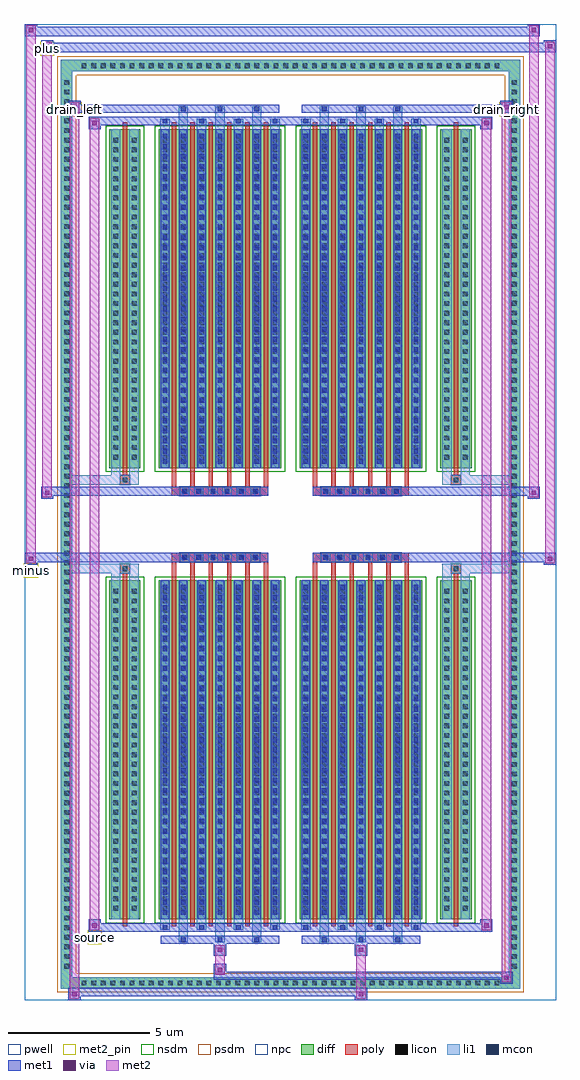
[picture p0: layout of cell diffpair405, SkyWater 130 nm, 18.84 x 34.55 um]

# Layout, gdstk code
import gdstk
lib = gdstk.Library(unit=1e-6, precision=5e-09)
def R(c, l, rs):  # rectangles x0, y0, x1, y1
    for r in rs: c.add(gdstk.rectangle(r[:2], r[2:], *l))
def A(c, l, x, y, w, h, nx, ny, dx, dy):  # array of equal rectangles
    R(c, l, [(x+i*dx, y+j*dy, x+i*dx+w, y+j*dy+h) for i in range(nx) for j in range(ny)])
def P(c, l, *ps):  # polygons
    for p in ps: c.add(gdstk.Polygon(p, *l))
pwell = (64, 44)
diff = (65, 20)
poly = (66, 20)
licon = (66, 44)
li1 = (67, 20)
mcon = (67, 44)
met1 = (68, 20)
via = (68, 44)
met2_pin = (69, 16)
met2 = (69, 20)
nsdm = (93, 44)
psdm = (94, 20)
npc = (95, 20)

diffpair405 = lib.new_cell('diffpair405')
R(diffpair405, pwell, [(-9.4,-16.84,9.4,17.71), (-6.72,-15.03,-0.01,-0.805), (0.01,-15.03,6.72,-0.805), (-6.72,0.805,-0.01,15.03), (0.01,0.805,6.72,15.03)])
A(diffpair405, diff, -7.515, -16.44, 0.41, 0.41, 44, 2, 0.34, 32.47)
A(diffpair405, diff, -8.13, -15.845, 0.41, 0.41, 1, 93, 0, 0.34)
A(diffpair405, diff, 7.72, -15.845, 0.41, 0.41, 1, 93, 0, 0.34)
R(diffpair405, diff, [(-7.515,-16.44,7.515,-16.03), (-8.13,-15.845,-7.72,15.845), (7.72,-15.845,8.13,15.845), (-6.41,-13.985,-5.31,-1.985), (-4.67,-13.985,-0.32,-1.985), (0.32,-13.985,4.67,-1.985), (5.31,-13.985,6.41,-1.985), (-6.41,1.985,-5.31,13.985), (-4.67,1.985,-0.32,13.985), (0.32,1.985,4.67,13.985), (5.31,1.985,6.41,13.985), (-7.515,16.03,7.515,16.44)])
P(diffpair405, diff, [(8.13,16.44),(-8.13,16.44),(-8.13,-16.03),(-7.72,-16.03),(-7.72,16.03),(7.72,16.03),(7.72,-16.03),(-7.72,-16.03),(-8.13,-16.03),(-8.13,-16.44),(8.13,-16.44)])
A(diffpair405, poly, -4.195, -14.235, 0.15, 12.5, 6, 2, 0.65, 15.97)
A(diffpair405, poly, 0.795, -14.235, 0.15, 12.5, 6, 2, 0.65, 15.97)
A(diffpair405, poly, -4.195, -1.735, 0.15, 0.4, 6, 2, 0.65, 3.07)
A(diffpair405, poly, 0.795, -1.735, 0.15, 0.4, 6, 2, 0.65, 3.07)
A(diffpair405, poly, -3.91, -1.335, 0.33, 0.33, 6, 2, 0.5, 2.34)
A(diffpair405, poly, 1.08, -1.335, 0.33, 0.33, 6, 2, 0.5, 2.34)
R(diffpair405, poly, [(-5.935,-14.235,-5.785,-1.735), (5.785,-14.235,5.935,-1.735), (-6.025,-1.735,-5.695,-1.405), (-6.025,-1.735,-5.695,-1.405), (5.695,-1.735,6.025,-1.405), (5.695,-1.735,6.025,-1.405), (-4.195,-1.335,-0.795,-1.005), (0.795,-1.335,4.195,-1.005), (-4.195,1.005,-0.795,1.335), (0.795,1.005,4.195,1.335), (-6.025,1.405,-5.695,1.735), (-6.025,1.405,-5.695,1.735), (5.695,1.405,6.025,1.735), (5.695,1.405,6.025,1.735), (-5.935,1.735,-5.785,14.235), (5.785,1.735,5.935,14.235)])
A(diffpair405, licon, -7.395, -16.32, 0.17, 0.17, 44, 2, 0.34, 32.47)
A(diffpair405, licon, -8.01, -15.725, 0.17, 0.17, 1, 93, 0, 0.34)
A(diffpair405, licon, 7.84, -15.725, 0.17, 0.17, 1, 93, 0, 0.34)
A(diffpair405, licon, -6.27, -13.68, 0.17, 0.17, 1, 34, 0, 0.34)
A(diffpair405, licon, -5.62, -13.68, 0.17, 0.17, 1, 34, 0, 0.34)
A(diffpair405, licon, -4.53, -13.68, 0.17, 0.17, 7, 34, 0.65, 0.34)
A(diffpair405, licon, 0.46, -13.68, 0.17, 0.17, 7, 34, 0.65, 0.34)
A(diffpair405, licon, 5.45, -13.68, 0.17, 0.17, 1, 34, 0, 0.34)
A(diffpair405, licon, 6.1, -13.68, 0.17, 0.17, 1, 34, 0, 0.34)
A(diffpair405, licon, -3.83, -1.255, 0.17, 0.17, 6, 2, 0.5, 2.34)
A(diffpair405, licon, 1.16, -1.255, 0.17, 0.17, 6, 2, 0.5, 2.34)
A(diffpair405, licon, -6.27, 2.29, 0.17, 0.17, 1, 34, 0, 0.34)
A(diffpair405, licon, -5.62, 2.29, 0.17, 0.17, 1, 34, 0, 0.34)
A(diffpair405, licon, -4.53, 2.29, 0.17, 0.17, 7, 34, 0.65, 0.34)
A(diffpair405, licon, 0.46, 2.29, 0.17, 0.17, 7, 34, 0.65, 0.34)
A(diffpair405, licon, 5.45, 2.29, 0.17, 0.17, 1, 34, 0, 0.34)
A(diffpair405, licon, 6.1, 2.29, 0.17, 0.17, 1, 34, 0, 0.34)
R(diffpair405, licon, [(-5.945,-1.655,-5.775,-1.485), (5.775,-1.655,5.945,-1.485), (-5.945,1.485,-5.775,1.655), (5.775,1.485,5.945,1.655)])
A(diffpair405, li1, -7.475, -16.4, 0.33, 0.33, 44, 2, 0.34, 32.47)
A(diffpair405, li1, -8.09, -15.805, 0.33, 0.33, 1, 93, 0, 0.34)
A(diffpair405, li1, 7.76, -15.805, 0.33, 0.33, 1, 93, 0, 0.34)
A(diffpair405, li1, -3.96, -14.79, 0.33, 0.805, 3, 2, 1.3, 28.775)
A(diffpair405, li1, -3.88, -14.79, 0.17, 0.17, 3, 2, 1.3, 29.41)
A(diffpair405, li1, 1.03, -14.79, 0.33, 0.805, 3, 2, 1.3, 28.775)
A(diffpair405, li1, 1.11, -14.79, 0.17, 0.17, 3, 2, 1.3, 29.41)
A(diffpair405, li1, -4.61, -14.36, 0.33, 0.375, 4, 2, 1.3, 28.345)
A(diffpair405, li1, -4.53, -14.36, 0.17, 0.17, 4, 2, 1.3, 28.55)
A(diffpair405, li1, 0.38, -14.36, 0.33, 0.375, 4, 2, 1.3, 28.345)
A(diffpair405, li1, 0.46, -14.36, 0.17, 0.17, 4, 2, 1.3, 28.55)
A(diffpair405, li1, -4.61, -13.985, 0.33, 12, 7, 2, 0.65, 15.97)
A(diffpair405, li1, 0.38, -13.985, 0.33, 12, 7, 2, 0.65, 15.97)
A(diffpair405, li1, -4.53, -13.83, 0.17, 0.17, 7, 33, 0.65, 0.36)
A(diffpair405, li1, -4.53, -13.83, 0.17, 11.69, 7, 2, 0.65, 15.97)
A(diffpair405, li1, 0.46, -13.83, 0.17, 0.17, 7, 33, 0.65, 0.36)
A(diffpair405, li1, 0.46, -13.83, 0.17, 11.69, 7, 2, 0.65, 15.97)
A(diffpair405, li1, -6.35, -13.76, 0.33, 0.33, 1, 34, 0, 0.34)
A(diffpair405, li1, -5.7, -13.76, 0.33, 0.33, 1, 34, 0, 0.34)
A(diffpair405, li1, -4.61, -13.76, 0.33, 0.33, 7, 34, 0.65, 0.34)
A(diffpair405, li1, 0.38, -13.76, 0.33, 0.33, 7, 34, 0.65, 0.34)
A(diffpair405, li1, 5.37, -13.76, 0.33, 0.33, 1, 34, 0, 0.34)
A(diffpair405, li1, 6.02, -13.76, 0.33, 0.33, 1, 34, 0, 0.34)
A(diffpair405, li1, -3.91, -1.335, 0.33, 0.33, 6, 2, 0.5, 2.34)
A(diffpair405, li1, 1.08, -1.335, 0.33, 0.33, 6, 2, 0.5, 2.34)
A(diffpair405, li1, -4.53, 2.14, 0.17, 0.17, 7, 33, 0.65, 0.36)
A(diffpair405, li1, 0.46, 2.14, 0.17, 0.17, 7, 33, 0.65, 0.36)
A(diffpair405, li1, -6.35, 2.21, 0.33, 0.33, 1, 34, 0, 0.34)
A(diffpair405, li1, -5.7, 2.21, 0.33, 0.33, 1, 34, 0, 0.34)
A(diffpair405, li1, -4.61, 2.21, 0.33, 0.33, 7, 34, 0.65, 0.34)
A(diffpair405, li1, 0.38, 2.21, 0.33, 0.33, 7, 34, 0.65, 0.34)
A(diffpair405, li1, 5.37, 2.21, 0.33, 0.33, 1, 34, 0, 0.34)
A(diffpair405, li1, 6.02, 2.21, 0.33, 0.33, 1, 34, 0, 0.34)
R(diffpair405, li1, [(-8.13,-16.44,-7.72,-16.03), (-8.13,-16.44,-7.72,-16.03), (-7.72,-16.44,7.72,-16.03), (7.72,-16.44,8.13,-16.03), (7.72,-16.44,8.13,-16.03), (-8.13,-16.03,-7.72,16.03), (7.72,-16.03,8.13,16.03), (-6.35,-13.985,-6.02,-1.985), (-5.7,-13.985,-5.37,-1.985), (5.37,-13.985,5.7,-1.985), (6.02,-13.985,6.35,-1.985), (-6.35,-1.985,-6.02,-1.405), (-5.7,-1.985,-5.37,-1.405), (5.37,-1.985,5.7,-1.405), (6.02,-1.985,6.35,-1.405), (-8.13,-1.735,-6.025,-1.405), (-6.35,-1.735,-6.025,-1.405), (-6.025,-1.735,-5.695,-1.405), (-5.695,-1.735,-5.37,-1.405), (5.37,-1.735,5.695,-1.405), (5.695,-1.735,6.025,-1.405), (5.695,-1.735,8.13,-1.405), (6.025,-1.735,6.35,-1.405), (-8.13,1.405,-6.025,1.735), (-6.35,1.405,-6.025,1.735), (-6.35,1.405,-6.02,1.985), (-6.025,1.405,-5.695,1.735), (-5.7,1.405,-5.37,1.985), (-5.695,1.405,-5.37,1.735), (5.37,1.405,5.695,1.735), (5.37,1.405,5.7,1.985), (5.695,1.405,6.025,1.735), (5.695,1.405,8.13,1.735), (6.02,1.405,6.35,1.985), (6.025,1.405,6.35,1.735), (-6.35,1.985,-6.02,13.985), (-5.7,1.985,-5.37,13.985), (5.37,1.985,5.7,13.985), (6.02,1.985,6.35,13.985), (-8.13,16.03,-7.72,16.44), (-8.13,16.03,-7.72,16.44), (-7.72,16.03,7.72,16.44), (7.72,16.03,8.13,16.44), (7.72,16.03,8.13,16.44)])
A(diffpair405, mcon, -3.88, -14.79, 0.17, 0.17, 3, 2, 1.3, 29.41)
A(diffpair405, mcon, 1.11, -14.79, 0.17, 0.17, 3, 2, 1.3, 29.41)
A(diffpair405, mcon, -4.53, -14.36, 0.17, 0.17, 4, 2, 1.3, 28.55)
A(diffpair405, mcon, 0.46, -14.36, 0.17, 0.17, 4, 2, 1.3, 28.55)
A(diffpair405, mcon, -4.53, -13.83, 0.17, 0.17, 7, 33, 0.65, 0.36)
A(diffpair405, mcon, 0.46, -13.83, 0.17, 0.17, 7, 33, 0.65, 0.36)
A(diffpair405, mcon, -3.83, -1.255, 0.17, 0.17, 6, 2, 0.5, 2.34)
A(diffpair405, mcon, 1.16, -1.255, 0.17, 0.17, 6, 2, 0.5, 2.34)
A(diffpair405, mcon, -4.53, 2.14, 0.17, 0.17, 7, 33, 0.65, 0.36)
A(diffpair405, mcon, 0.46, 2.14, 0.17, 0.17, 7, 33, 0.65, 0.36)
A(diffpair405, met1, -3.94, -14.85, 0.29, 0.29, 3, 2, 1.3, 29.41)
A(diffpair405, met1, 1.05, -14.85, 0.29, 0.29, 3, 2, 1.3, 29.41)
A(diffpair405, met1, -4.59, -14.42, 0.29, 0.29, 4, 2, 1.3, 28.55)
A(diffpair405, met1, 0.4, -14.42, 0.29, 0.29, 4, 2, 1.3, 28.55)
A(diffpair405, met1, -4.59, -13.985, 0.29, 12, 7, 2, 0.65, 15.97)
A(diffpair405, met1, 0.4, -13.985, 0.29, 12, 7, 2, 0.65, 15.97)
A(diffpair405, met1, -4.59, -13.89, 0.29, 0.29, 7, 33, 0.65, 0.36)
A(diffpair405, met1, 0.4, -13.89, 0.29, 0.29, 7, 33, 0.65, 0.36)
A(diffpair405, met1, -3.89, -1.315, 0.29, 0.29, 6, 2, 0.5, 2.34)
A(diffpair405, met1, 1.1, -1.315, 0.29, 0.29, 6, 2, 0.5, 2.34)
A(diffpair405, met1, -4.59, 2.08, 0.29, 0.29, 7, 33, 0.65, 0.36)
A(diffpair405, met1, 0.4, 2.08, 0.29, 0.29, 7, 33, 0.65, 0.36)
R(diffpair405, met1, [(-7.86,-16.84,-7.43,-16.41), (2.28,-16.84,2.71,-16.41), (-7.86,-16.7,2.71,-16.41), (7.43,-16.27,7.86,-15.84), (-2.71,-16.13,7.86,-15.84), (-2.71,-15.99,-2.28,-15.56), (-2.71,-15.28,-2.28,-14.85), (2.28,-15.28,2.71,-14.85), (-4.59,-14.85,-0.4,-14.56), (0.4,-14.85,4.59,-14.56), (-7.15,-14.42,-6.72,-13.99), (-7.15,-14.42,-4.59,-14.13), (-4.59,-14.42,-0.4,-14.13), (-0.4,-14.42,0.4,-14.13), (0.4,-14.42,4.59,-14.13), (4.59,-14.42,7.15,-14.13), (6.72,-14.42,7.15,-13.99), (-9.4,-1.435,-8.97,-1.005), (8.97,-1.435,9.4,-1.005), (-9.4,-1.335,-0.795,-1.005), (-4.195,-1.335,-0.795,-1.005), (0.795,-1.335,4.195,-1.005), (0.795,-1.335,9.4,-1.005), (-8.83,0.905,-8.4,1.335), (8.4,0.905,8.83,1.335), (-8.83,1.005,-4.195,1.335), (-4.195,1.005,-0.795,1.335), (0.795,1.005,4.195,1.335), (4.195,1.005,8.83,1.335), (-7.15,13.99,-6.72,14.42), (6.72,13.99,7.15,14.42), (-7.15,14.13,-4.59,14.42), (-4.59,14.13,-0.4,14.42), (-0.4,14.13,0.4,14.42), (0.4,14.13,4.59,14.42), (4.59,14.13,7.15,14.42), (-7.86,14.56,-7.43,14.99), (-7.86,14.56,-4.59,14.85), (-4.59,14.56,-0.4,14.85), (0.4,14.56,4.59,14.85), (4.59,14.56,7.86,14.85), (7.43,14.56,7.86,14.99), (-8.83,16.71,-8.4,17.14), (-8.83,16.71,-6.72,17.04), (-6.72,16.71,6.72,17.04), (6.72,16.71,9.4,17.04), (8.97,16.71,9.4,17.14), (-9.4,17.28,-8.97,17.71), (-9.4,17.28,-6.72,17.61), (-6.72,17.28,6.72,17.61), (6.72,17.28,8.83,17.61), (8.4,17.28,8.83,17.71)])
R(diffpair405, via, [(-7.72,-16.7,-7.57,-16.55), (2.42,-16.7,2.57,-16.55), (7.57,-16.13,7.72,-15.98), (-2.57,-15.85,-2.42,-15.7), (-2.57,-15.14,-2.42,-14.99), (2.42,-15.14,2.57,-14.99), (-7.01,-14.28,-6.86,-14.13), (6.86,-14.28,7.01,-14.13), (-9.26,-1.295,-9.11,-1.145), (9.11,-1.295,9.26,-1.145), (-8.69,1.045,-8.54,1.195), (8.54,1.045,8.69,1.195), (-7.01,14.13,-6.86,14.28), (6.86,14.13,7.01,14.28), (-7.72,14.7,-7.57,14.85), (7.57,14.7,7.72,14.85), (-8.69,16.85,-8.54,17), (9.11,16.85,9.26,17), (-9.26,17.42,-9.11,17.57), (8.54,17.42,8.69,17.57)])
R(diffpair405, met2_pin, [(-7.185,-14.87,-6.685,-14.37), (-9.435,-1.885,-8.935,-1.385), (-7.895,14.44,-7.395,14.94), (7.395,14.44,7.895,14.94), (-8.865,16.59,-8.365,17.09)])
R(diffpair405, met2, [(-7.81,-16.79,-7.48,-16.46), (-7.81,-16.79,-7.48,14.94), (2.33,-16.79,2.66,-16.46), (2.33,-16.46,2.66,-15.23), (7.48,-16.22,7.81,-15.89), (7.48,-16.22,7.81,14.94), (-2.66,-15.94,-2.33,-15.61), (-2.66,-15.61,-2.33,-15.23), (-2.66,-15.23,-2.33,-14.9), (2.33,-15.23,2.66,-14.9), (-7.1,-14.37,-6.77,-14.04), (-7.1,-14.37,-6.77,14.37), (6.77,-14.37,7.1,-14.04), (6.77,-14.37,7.1,14.37), (-9.35,-1.385,-9.02,-1.055), (-9.35,-1.385,-9.02,17.66), (9.02,-1.385,9.35,-1.055), (9.02,-1.385,9.35,17.09), (-8.78,0.955,-8.45,1.285), (-8.78,0.955,-8.45,17.09), (8.45,0.955,8.78,1.285), (8.45,0.955,8.78,17.66), (-7.1,14.04,-6.77,14.37), (6.77,14.04,7.1,14.37), (-7.81,14.61,-7.48,14.94), (7.48,14.61,7.81,14.94), (-8.78,16.76,-8.45,17.09), (9.02,16.76,9.35,17.09), (-9.35,17.33,-9.02,17.66), (8.45,17.33,8.78,17.66)])
P(diffpair405, met2, [(9.35,-1.385),(9.35,-1.385),(9.35,-1.055),(9.35,-1.055)],
  [(9.35,16.76),(9.35,16.76),(9.35,17.09),(9.35,17.09)],
  [(-9.02,-1.385),(-9.02,-1.385),(-9.02,-1.055),(-9.02,-1.055)],
  [(-9.02,17.33),(-9.02,17.33),(-9.02,17.66),(-9.02,17.66)],
  [(8.78,0.955),(8.78,0.955),(8.78,1.285),(8.78,1.285)],
  [(8.78,17.33),(8.78,17.33),(8.78,17.66),(8.78,17.66)],
  [(-8.45,0.955),(-8.45,0.955),(-8.45,1.285),(-8.45,1.285)],
  [(-8.45,16.76),(-8.45,16.76),(-8.45,17.09),(-8.45,17.09)],
  [(-7.48,-16.79),(-7.48,-16.79),(-7.48,-16.46),(-7.48,-16.46)],
  [(-7.48,14.61),(-7.48,14.61),(-7.48,14.94),(-7.48,14.94)],
  [(7.81,-16.22),(7.81,-16.22),(7.81,-15.89),(7.81,-15.89)],
  [(7.81,14.61),(7.81,14.61),(7.81,14.94),(7.81,14.94)],
  [(-6.77,-14.37),(-6.77,-14.37),(-6.77,-14.04),(-6.77,-14.04)],
  [(-6.77,14.04),(-6.77,14.04),(-6.77,14.37),(-6.77,14.37)],
  [(7.1,-14.37),(7.1,-14.37),(7.1,-14.04),(7.1,-14.04)],
  [(7.1,14.04),(7.1,14.04),(7.1,14.37),(7.1,14.37)])
R(diffpair405, nsdm, [(-6.54,-14.115,-5.18,-1.855), (-4.8,-14.115,-0.19,-1.855), (0.19,-14.115,4.8,-1.855), (5.18,-14.115,6.54,-1.855), (-6.54,1.855,-5.18,14.115), (-4.8,1.855,-0.19,14.115), (0.19,1.855,4.8,14.115), (5.18,1.855,6.54,14.115)])
P(diffpair405, psdm, [(8.26,16.57),(-8.26,16.57),(-8.26,-15.9),(-7.59,-15.9),(-7.59,15.9),(7.59,15.9),(7.59,-15.9),(-7.59,-15.9),(-8.26,-15.9),(-8.26,-16.57),(8.26,-16.57)])
A(diffpair405, npc, -3.93, -1.355, 0.37, 0.37, 6, 2, 0.5, 2.34)
A(diffpair405, npc, 1.06, -1.355, 0.37, 0.37, 6, 2, 0.5, 2.34)
R(diffpair405, npc, [(-6.045,-1.755,-5.675,-1.385), (5.675,-1.755,6.045,-1.385), (-3.93,-1.355,-3.06,-0.985), (-3.93,-1.355,-3.06,-0.985), (-3.43,-1.355,-2.56,-0.985), (-3.43,-1.355,-2.56,-0.985), (-2.93,-1.355,-2.06,-0.985), (-2.93,-1.355,-2.06,-0.985), (-2.43,-1.355,-1.56,-0.985), (-2.43,-1.355,-1.56,-0.985), (-1.93,-1.355,-1.06,-0.985), (-1.93,-1.355,-1.06,-0.985), (1.06,-1.355,1.93,-0.985), (1.06,-1.355,1.93,-0.985), (1.56,-1.355,2.43,-0.985), (1.56,-1.355,2.43,-0.985), (2.06,-1.355,2.93,-0.985), (2.06,-1.355,2.93,-0.985), (2.56,-1.355,3.43,-0.985), (2.56,-1.355,3.43,-0.985), (3.06,-1.355,3.93,-0.985), (3.06,-1.355,3.93,-0.985), (-3.93,0.985,-3.06,1.355), (-3.93,0.985,-3.06,1.355), (-3.43,0.985,-2.56,1.355), (-3.43,0.985,-2.56,1.355), (-2.93,0.985,-2.06,1.355), (-2.93,0.985,-2.06,1.355), (-2.43,0.985,-1.56,1.355), (-2.43,0.985,-1.56,1.355), (-1.93,0.985,-1.06,1.355), (-1.93,0.985,-1.06,1.355), (1.06,0.985,1.93,1.355), (1.06,0.985,1.93,1.355), (1.56,0.985,2.43,1.355), (1.56,0.985,2.43,1.355), (2.06,0.985,2.93,1.355), (2.06,0.985,2.93,1.355), (2.56,0.985,3.43,1.355), (2.56,0.985,3.43,1.355), (3.06,0.985,3.93,1.355), (3.06,0.985,3.93,1.355), (-6.045,1.385,-5.675,1.755), (5.675,1.385,6.045,1.755)])
diffpair405.add(gdstk.Label('minus', (-9.185,-1.635), layer=69, texttype=5))
diffpair405.add(gdstk.Label('drain_right', (7.645,14.69), layer=69, texttype=5))
diffpair405.add(gdstk.Label('drain_left', (-7.645,14.69), layer=69, texttype=5))
diffpair405.add(gdstk.Label('source', (-6.935,-14.62), layer=69, texttype=5))
diffpair405.add(gdstk.Label('plus', (-8.615,16.84), layer=69, texttype=5))

lib.write_gds('diffpair405.gds')
